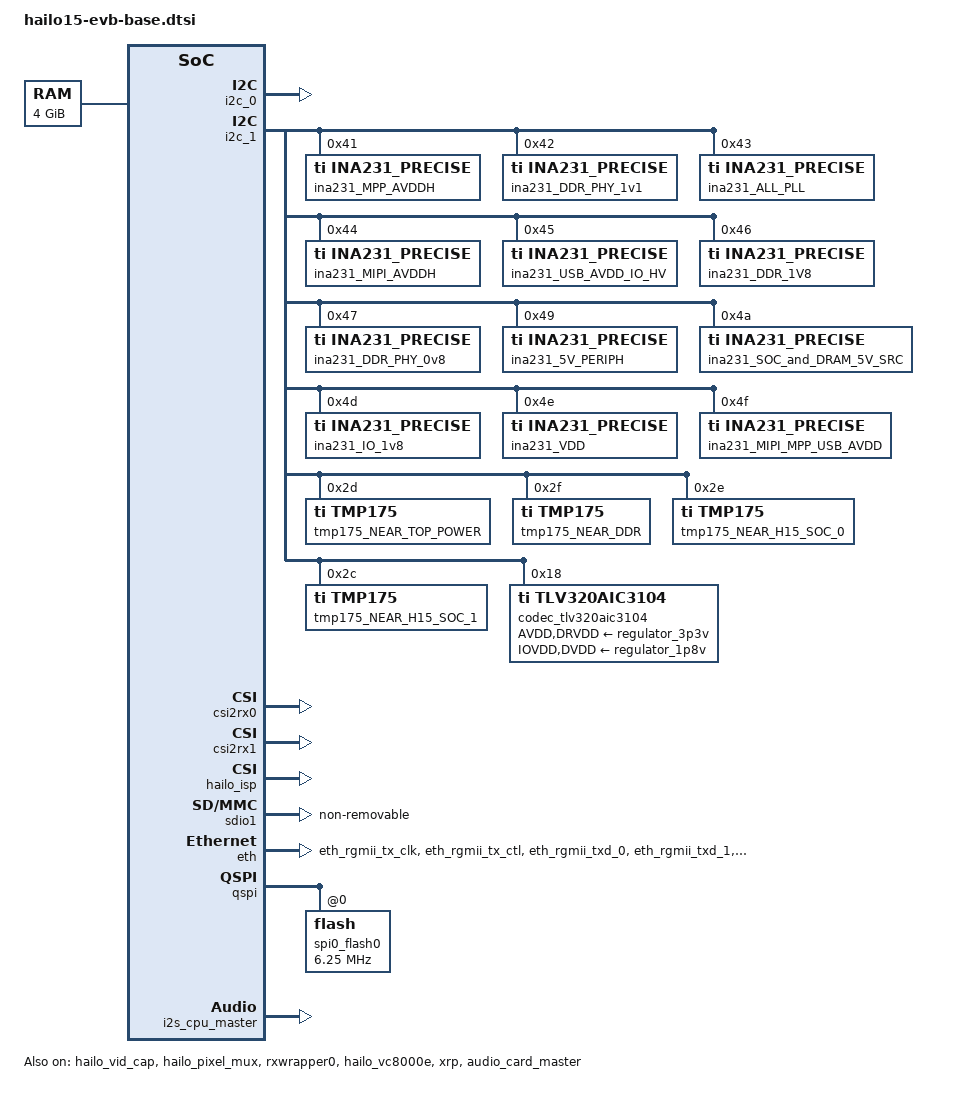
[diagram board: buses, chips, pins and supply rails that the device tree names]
// SPDX-License-Identifier:     GPL-2.0
/*
 * Copyright (c) 2019-2023 Hailo Technologies Ltd. All rights reserved.
 */

#include "hailo15-base.dtsi"

/ {
    memory {
        device_type = "memory";
        reg = <0x00000000 0x80000000 0x00000001 0x00000000>;
    };
};

&i2c_0 {
    status = "okay";
};

&i2c_1 {
    status = "okay";
    ina231_MPP_AVDDH: MPP_AVDDH@41 {
        compatible = "ti,ina231_precise";
        reg = <0x41>;
        shunt-resistor = <100000>;
        max-current = <100>;
    };
    ina231_DDR_PHY_1v1: DDR_PHY_1v1@42 {
        compatible = "ti,ina231_precise";
        reg = <0x42>;
        shunt-resistor = <50000>;
        max-current = <300>;
    };
    ina231_ALL_PLL: ALL_PLL@43 {
        compatible = "ti,ina231_precise";
        reg = <0x43>;
        shunt-resistor = <100000>;
        max-current = <100>;
    };
    ina231_MIPI_AVDDH: MIPI_AVDDH@44 {
        compatible = "ti,ina231_precise";
        reg = <0x44>;
        shunt-resistor = <100000>;
        max-current = <100>;
    };
    ina231_USB_AVDD_IO_HV: USB_AVDD_IO_HV@45 {
        compatible = "ti,ina231_precise";
        reg = <0x45>;
        shunt-resistor = <100000>;
        max-current = <100>;
    };
    ina231_DDR_1V8: DDR_1V8@46 {
        compatible = "ti,ina231_precise";
        reg = <0x46>;
        shunt-resistor = <100000>;
        max-current = <300>;
    };
    ina231_DDR_PHY_0v8: DDR_PHY_0v8@47 {
        compatible = "ti,ina231_precise";
        reg = <0x47>;
        shunt-resistor = <50000>;
        max-current = <1400>;
    };
    ina231_5V_PERIPH: 5V_PERIPH@49 {
        compatible = "ti,ina231_precise";
        reg = <0x49>;
        shunt-resistor = <1000>;
        max-current = <5500>;
    };
    ina231_SOC_and_DRAM_5V_SRC: SOC_and_DRAM_5V_SRC@4a {
        compatible = "ti,ina231_precise";
        reg = <0x4a>;
        shunt-resistor = <1000>;
        max-current = <3500>;
    };
    /* Assembly only on EVB with LPDDR4X
    ina231_DDR_PHY_0v6: DDR_PHY_0v6@4c {
        compatible = "ti,ina231_precise";
        reg = <0x4c>;
        shunt-resistor = <50000>;
        max-current = <2500>;
    };
    */
    ina231_IO_1v8: IO_1v8@4d {
        compatible = "ti,ina231_precise";
        reg = <0x4d>;
        shunt-resistor = <100000>;
        max-current = <250>;
    };
    ina231_VDD: VDD@4e {
        compatible = "ti,ina231_precise";
        reg = <0x4e>;
        shunt-resistor = <1000>;
        max-current = <12000>;
    };
    ina231_MIPI_MPP_USB_AVDD: MIPI_MPP_USB_AVDD@4f {
        compatible = "ti,ina231_precise";
        reg = <0x4f>;
        shunt-resistor = <50000>;
        max-current = <600>;
    };

    tmp175_NEAR_TOP_POWER: NEAR_TOP_POWER@2d {
        compatible = "ti,tmp175";
        reg = <0x2d>;
    };
    tmp175_NEAR_DDR: NEAR_DDR@2f {
        compatible = "ti,tmp175";
        reg = <0x2f>;
    };
    tmp175_NEAR_H15_SOC_0: NEAR_H15_SOC_0@2e {
        compatible = "ti,tmp175";
        reg = <0x2e>;
    };
    tmp175_NEAR_H15_SOC_1: NEAR_H15_SOC_1@2c {
        compatible = "ti,tmp175";
        reg = <0x2c>;
    };
    codec_tlv320aic3104: tlv320aic3104@18 {
        #sound-dai-cells = <0>;
        compatible = "ti,tlv320aic3104";
        reg = <0x18>;
        ai3x-source-clk = "bclk";
        ai3x-micbias-vg = <2>;
		/* Regulators */
		AVDD-supply = <&regulator_3p3v>;
		IOVDD-supply = <&regulator_1p8v>;
		DRVDD-supply = <&regulator_3p3v>;
		DVDD-supply = <&regulator_1p8v>;
    };
};

&csi2rx0 {
    status = "okay";
};

&csi2rx1 {
    status = "okay";
};

&hailo_vid_cap {
    status = "okay";
};

&hailo_isp {
    status = "okay";
};

&hailo_pixel_mux {
    status = "okay";
};

&rxwrapper0 {
    status = "okay";
};

&hailo_vc8000e {
    status = "okay";
};

&vc8000e_reserved {
    status = "okay";
};

&xrp {
    status = "okay";
};

&xrp_reserved {
    status = "okay";
};

&sdio0 {
    phy-config {
		card-is-emmc = <0x0>;
		cmd-pad-values = <0x1 0x3 0x1 0x1>; // txslew_ctrl_n, txslew_ctrl_p, weakpull_enable, rxsel
        	dat-pad-values = <0x1 0x3 0x1 0x1>; // txslew_ctrl_n, txslew_ctrl_p, weakpull_enable, rxsel
        	rst-pad-values = <0x1 0x3 0x1 0x1>; // txslew_ctrl_n, txslew_ctrl_p, weakpull_enable, rxsel
        	clk-pad-values = <0x1 0x3 0x0 0x1>; // txslew_ctrl_n, txslew_ctrl_p, weakpull_enable, rxsel
        	sdclkdl-cnfg = <0x0 0x32>; //extdly_en, cckdl_dc
        	drive-strength = <0xC 0xC>; //pad_sp, pad_sn	
    };
};
&sdio1 {
    non-removable;
    phy-config {
		card-is-emmc = <0x1>;
        	cmd-pad-values = <0x2 0x2 0x1 0x1>; // txslew_ctrl_n, txslew_ctrl_p, weakpull_enable, rxsel
        	dat-pad-values = <0x2 0x2 0x1 0x1>; // txslew_ctrl_n, txslew_ctrl_p, weakpull_enable, rxsel
        	rst-pad-values = <0x2 0x2 0x1 0x1>; // txslew_ctrl_n, txslew_ctrl_p, weakpull_enable, rxsel
        	clk-pad-values = <0x2 0x2 0x0 0x0>; // txslew_ctrl_n, txslew_ctrl_p, weakpull_enable, rxsel
        	sdclkdl-cnfg = <0x0 0x32>; //extdly_en, cckdl_dc
        	drive-strength = <0xC 0xC>; //pad_sp, pad_sn
        };
};

&eth {
    status = "okay";
    pinctrl-names = "default";
    pinctrl-0 = <&pinctrl_eth>;
};

&pinctrl {
    compatible = "hailo15-cpld,pinctrl";
    pinctrl_eth: eth {
        pins = "eth_rgmii_tx_clk",
               "eth_rgmii_tx_ctl",
               "eth_rgmii_txd_0",
               "eth_rgmii_txd_1",
               "eth_rgmii_txd_2",
               "eth_rgmii_txd_3";
        drive-strength = <2>;
    };
};

&qspi {
    status = "okay";

    spi0_flash0: flash@0 {
        /* values for MT25QU01G */
        spi-max-frequency = <6250000>; /* 90Mhz in DTR, 166Mhz in STR */
        cdns,read-delay = <7>;
        cdns,tshsl-ns = <30>;
        cdns,tsd2d-ns = <30>;
        cdns,tchsh-ns = <5>;
        cdns,tslch-ns = <3>;
    };
};

&i2s_cpu_master {
    status = "okay";
    rx-sample-pace-pattern-repetitions = <2>;
    rx-sample-pace = <64 64 64>;
    rx-sample-cmp-to = "prev-val";
    tx-sample-offset = <81>;
    tx-sample-pace = <63>;
};

&audio_card_master {
    status = "okay";
    simple-audio-card,bitclock-master = <&cpu_dai_master>;
    simple-audio-card,frame-master = <&cpu_dai_master>;

    cpu_dai_master: simple-audio-card,cpu {
        sound-dai = <&i2s_cpu_master>;
        system-clock-frequency = <1562500>;
        system-clock-direction-out;
    };
    codec_dai_master: simple-audio-card,codec {
        sound-dai = <&codec_tlv320aic3104>;
        system-clock-frequency = <1562500>;
    };
};

&audio_card_slave_tx {
    simple-audio-card,bitclock-master = <&codec_dai_tx>;
    simple-audio-card,frame-master = <&codec_dai_tx>;

    cpu_dai_tx: simple-audio-card,cpu {
        sound-dai = <&i2s_cpu_slave_tx>;
        system-clock-frequency = <12288000>;
    };
    codec_dai_tx: simple-audio-card,codec {
        sound-dai = <&codec_tlv320aic3104>;
        system-clock-frequency = <12288000>;
    };
};

&audio_card_slave_rx {
    simple-audio-card,bitclock-master = <&codec_dai_rx>;
    simple-audio-card,frame-master = <&codec_dai_rx>;

    cpu_dai_rx: simple-audio-card,cpu {
        sound-dai = <&i2s_cpu_slave_rx>;
        system-clock-frequency = <12288000>;
    };
    codec_dai_rx: simple-audio-card,codec {
        sound-dai = <&codec_tlv320aic3104>;
        system-clock-frequency = <12288000>;
    };
};
